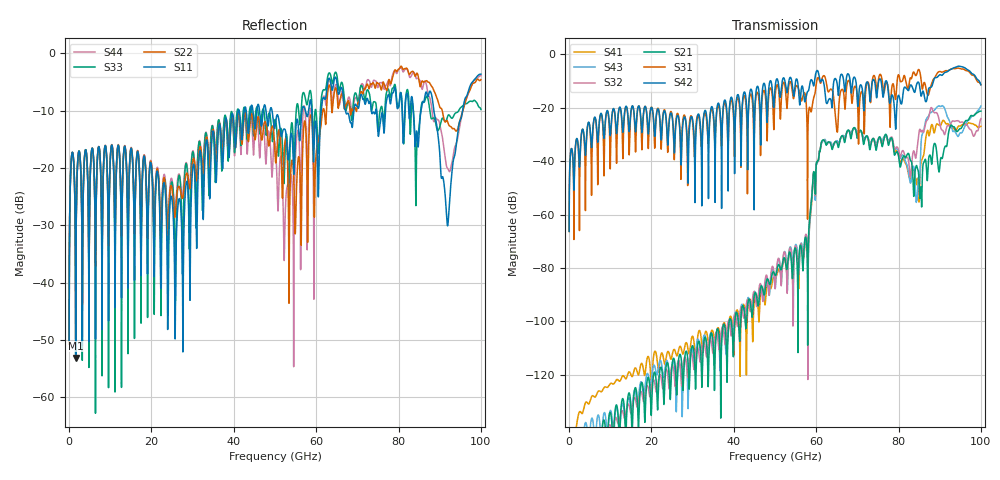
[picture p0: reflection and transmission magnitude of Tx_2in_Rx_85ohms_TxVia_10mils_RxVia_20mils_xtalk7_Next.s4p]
! Info: Touchstone file created by Circ.  Input file=Tx_2in_Rx_85ohms_TxVia_10mils_RxVia_20mils.circ
# Hz S RI R 50
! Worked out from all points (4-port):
!   10000 points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, 10 MHz to 100 GHz, reference 50 ohm
!   strongest paths, dB at 10 MHz, 25.01 GHz, 50.01 GHz, 75.01 GHz, 100 GHz:
!     S42: -66.3, -23.1, -12.7, -11.8, -11.4
!     S31: -66.3, -22.7, -16.3, -11.1, -11.4
!     S21: -, -116.4, -82.6, -32.2, -21.2
!     S32: -, -116.5, -87.7, -32.0, -24.1
!     S43: -153.5, -116.1, -87.5, -32.1, -19.4
!     S41: -153.7, -112.8, -83.9, -32.3, -26.9
!   lowest |S11| = -53.1 dB at 1.61 GHz (marker M1), VSWR 1.00, Z = 49.8 + j0.0157 ohm
!   |S11| at or under -10 dB: start of sweep to 41.12 GHz; 49.28 GHz to 56.57 GHz (7.292 GHz wide, 13.8 % of centre); 88.58 GHz to 95.56 GHz (6.987 GHz wide, 7.59 % of centre)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
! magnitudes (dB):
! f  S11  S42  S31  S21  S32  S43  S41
! 10 MHz  -50.1  -66.3  -66.3  -  -  -153.5  -153.7
! 1.61 GHz  -53.1  -33.4  -33.5  -166.3  -160.9  -155.6  -140.5
! 50.02 GHz  -12.9  -12.5  -16.1  -82.7  -87.8  -87.5  -83.9
! 57.74 GHz  -11.0  -14.6  -24.0  -72.1  -69.3  -68.5  -71.8
! 61.7 GHz  -7.8  -9.9  -8.1  -32.0  -32.2  -32.4  -32.2
! 84.56 GHz  -14.8  -10.6  -6.6  -42.5  -34.4  -54.0  -46.4
! 100 GHz  -3.7  -11.4  -11.4  -21.2  -24.1  -19.4  -26.9
